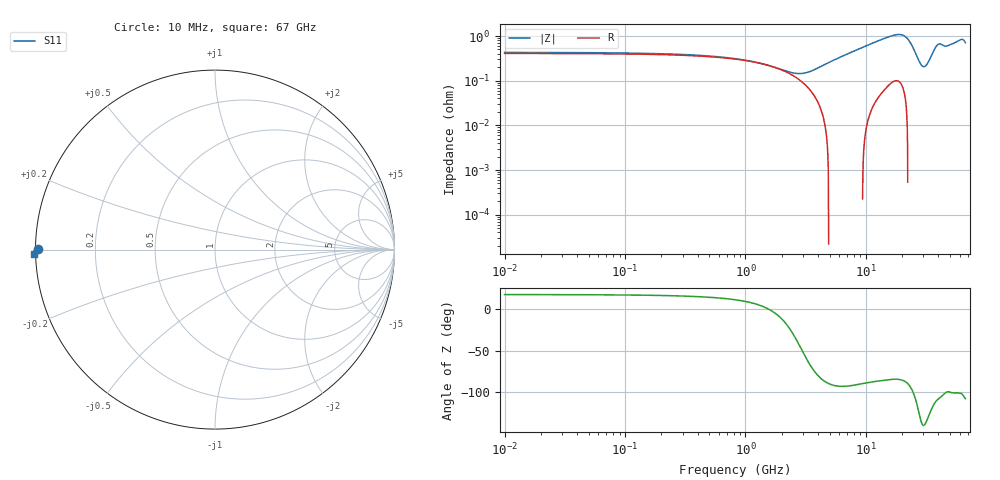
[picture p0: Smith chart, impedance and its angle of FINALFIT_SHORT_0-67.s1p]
! Generated by Phase I extraction
# Hz S RI R 50
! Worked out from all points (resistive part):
!   1601 points, 10 MHz to 67 GHz, reference 50 ohm
!   read as one part to ground: R = 366 mohm at 344.9 MHz
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1e7  -0.9837 0.00524
2.145306e9  -0.9936 -0.00188
3.861925e9  -0.9984 -0.00719
5.829756e9  -1.001 -0.0127
8.38375e9  -1 -0.0196
1.378482e10  -0.9972 -0.0341
1.67575e10  -0.9954 -0.0408
1.885094e10  -0.9953 -0.043
1.973018e10  -0.9958 -0.0425
2.060942e10  -0.9968 -0.0408
2.21167e10  -0.9991 -0.0351
2.513125e10  -1.004 -0.0191
2.722469e10  -1.006 -0.0102
2.818767e10  -1.007 -0.00749
2.910878e10  -1.007 -0.00586
3.103474e10  -1.006 -0.00557
3.3505e10  -1.007 -0.00907
3.903168e10  -1.008 -0.0236
4.041334e10  -1.008 -0.0254
4.187875e10  -1.007 -0.0254
4.594002e10  -1.004 -0.0234
5.02525e10  -1.004 -0.0255
5.335079e10  -1.005 -0.027
5.862625e10  -1.006 -0.031
6.159893e10  -1.006 -0.033
6.327368e10  -1.007 -0.033
6.486469e10  -1.008 -0.0315
6.7e10  -1.009 -0.0272
